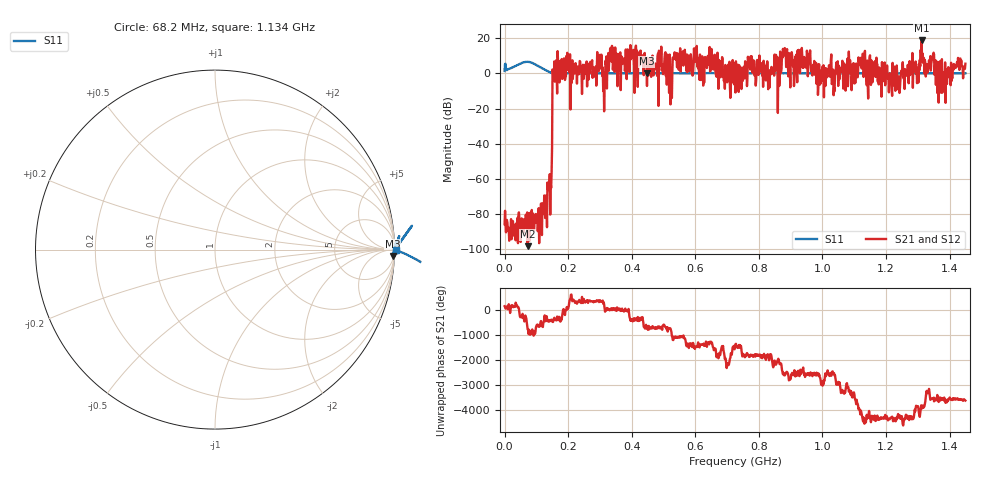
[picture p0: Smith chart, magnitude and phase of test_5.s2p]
! Created with skrf 1.11.0 (http://scikit-rf.org).
# Hz S RI R 50.0
!freq ReS11 ImS11 ReS21 ImS21 ReS12 ImS12 ReS22 ImS22
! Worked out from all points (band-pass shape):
!   1001 points, 50 kHz to 1.45 GHz, reference 50 ohm
!   highest |S21| = 18.70 dB at 1.312 GHz (marker M1); lowest = -98.3 dB at 72.55 MHz (marker M2)
!   |S21| within 3 dB of the highest: 395.7441 MHz to 395.9512 MHz (207 kHz wide, 0.0523 % of centre); 413.2468 MHz to 413.2982 MHz (51.47 kHz wide, 0.0125 % of centre) (the widest 2 of 3)
!   lowest |S11| = -0.1 dB at 446.6 MHz (marker M3), VSWR 242.29, Z = 616 - j2.66e+03 ohm
!   |S11| at or under -10 dB: nowhere
!   |S22| runs from - to - dB; largest |S21 - S12| = 0
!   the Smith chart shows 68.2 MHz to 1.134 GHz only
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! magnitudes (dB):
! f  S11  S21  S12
! 50 kHz  1.4  -85.8  -85.8
! 72.55 MHz  6.6  -98.3  -98.3
! 116 MHz  3.1  -85.8  -85.8
! 139.2 MHz  0.9  -66.4  -66.4
! 159.5 MHz  0.1  2.6  2.6
! 242.2 MHz  0.1  0.2  0.2
! 298.7 MHz  0.0  8.4  8.4
! 314.7 MHz  0.0  -2.6  -2.6
! 336.4 MHz  0.0  6.7  6.7
! 446.6 MHz  -0.1  6.7  6.7
! 484.3 MHz  0.0  -18.5  -18.5
! 601.8 MHz  0.0  13.6  13.6
! 725 MHz  0.1  5.7  5.7
! 864.2 MHz  0.1  -7.2  -7.2
! 881.6 MHz  0.1  14.4  14.4
! 967.2 MHz  0.0  3.9  3.9
! 1.037 GHz  0.0  -8.0  -8.0
! 1.121 GHz  0.1  8.8  8.8
! 1.209 GHz  0.0  -10.8  -10.8
! 1.312 GHz  0.1  18.7  18.7
! 1.373 GHz  0.0  -11.0  -11.0
! 1.45 GHz  0.0  5.5  5.5
